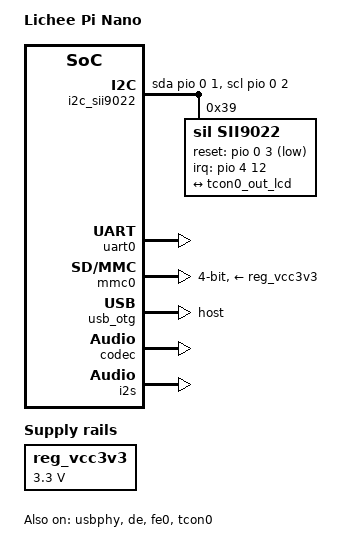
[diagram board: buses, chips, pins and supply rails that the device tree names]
// SPDX-License-Identifier: (GPL-2.0+ OR X11)
/*
 * Copyright 2018 Icenowy Zheng <icenowy@aosc.io>
 */

/dts-v1/;
#include "suniv-f1c100s.dtsi"
#include <dt-bindings/gpio/gpio.h>
#include <dt-bindings/interrupt-controller/irq.h>
#include <dt-bindings/display/st7701initseq.h>

/ {
	model = "Lichee Pi Nano";
	compatible = "licheepi,licheepi-nano", "allwinner,suniv-f1c100s";

	aliases {
		serial0 = &uart0;
	};

	chosen {
		stdout-path = "serial0:115200n8";
	};

	reg_vcc3v3: vcc3v3 {
		compatible = "regulator-fixed";
		regulator-name = "vcc3v3";
		regulator-min-microvolt = <3300000>;
		regulator-max-microvolt = <3300000>;
	};

	i2c_sii9022: i2c-sii9022 {
		compatible = "i2c-gpio";
		sda-gpios = <&pio 0 1 (GPIO_ACTIVE_HIGH | GPIO_OPEN_DRAIN)>;
		scl-gpios = <&pio 0 2 (GPIO_ACTIVE_HIGH | GPIO_OPEN_DRAIN)>;
		i2c-gpio,sda-open-drain;
		i2c-gpio,scl-open-drain;
		#address-cells = <1>;
		#size-cells = <0>;

		sii9022: hdmi@39 {
			compatible = "sil,sii9022";
			reg = <0x39>;
			reset-gpios = <&pio 0 3 GPIO_ACTIVE_LOW>;
			interrupt-parent = <&pio>;
			interrupts = <4 12 IRQ_TYPE_EDGE_RISING>;

			port {
				sii9022_input: endpoint {
					remote-endpoint = <&tcon0_out_lcd>;
					bus-width = <18>;
				};
			};
		};
	};

	panel: panel {
		status = "disabled";
		compatible = "lattland,mostima", "simple-panel";
		#address-cells = <1>;
		#size-cells = <0>;

		port@0 {
			reg = <0>;
			#address-cells = <1>;
			#size-cells = <0>;

				reg = <0>;
				remote-endpoint = <&tcon0_out_lcd>;
			};
		};
	};

	st7701initseq: st7701initseq {
		compatible = "lattland,st7701-initseq";
		status = "disabled";
		scl-gpios = <&pio 0 1 GPIO_ACTIVE_HIGH>; /* PA1 swapped for panel test */
		sda-gpios = <&pio 0 2 GPIO_ACTIVE_HIGH>; /* PA2 swapped for panel test */
		cs-gpios = <&pio 0 0 GPIO_ACTIVE_HIGH>;  /* PA0 */
		rst-gpios = <&pio 0 3 GPIO_ACTIVE_HIGH>; /* PA3 */
		init-sequence = <
			ST7701INIT_BEGIN_WRITE

			ST7701INIT_WRITE_COMMAND_8 0xFF
			ST7701INIT_WRITE_BYTES 5 0x77 0x01 0x00 0x00 0x13
			ST7701INIT_WRITE_C8_D8 0xEF 0x08

			ST7701INIT_WRITE_COMMAND_8 0xFF
			ST7701INIT_WRITE_BYTES 5 0x77 0x01 0x00 0x00 0x10
			ST7701INIT_WRITE_C8_D16 0xC0 0x4F 0x00
			ST7701INIT_WRITE_C8_D16 0xC1 0x07 0x02
			ST7701INIT_WRITE_C8_D16 0xC2 0x31 0x05
			ST7701INIT_WRITE_C8_D8 0xC7 0x04
			ST7701INIT_WRITE_COMMAND_8 0xC3
			ST7701INIT_WRITE_BYTES 3 0x82 0x18 0x0e
			ST7701INIT_WRITE_C8_D8 0xCC 0x10

			ST7701INIT_WRITE_COMMAND_8 0xB0
			ST7701INIT_WRITE_BYTES 16
			0x0A 0x14 0x1B 0x0D
			0x10 0x05 0x07 0x08
			0x06 0x22 0x03 0x11
			0x10 0xAD 0x31 0x1B

			ST7701INIT_WRITE_COMMAND_8 0xB1
			ST7701INIT_WRITE_BYTES 16
			0x0A 0x14 0x1B 0x0D
			0x10 0x05 0x07 0x08
			0x06 0x22 0x03 0x11
			0x10 0xAD 0x31 0x1B

			ST7701INIT_WRITE_COMMAND_8 0xFF
			ST7701INIT_WRITE_BYTES 5 0x77 0x01 0x00 0x00 0x11
			ST7701INIT_WRITE_C8_D8 0xB0 0x53
			ST7701INIT_WRITE_C8_D8 0xB1 0x60
			ST7701INIT_WRITE_C8_D8 0xB2 0x07
			ST7701INIT_WRITE_C8_D8 0xB3 0x80
			ST7701INIT_WRITE_C8_D8 0xB5 0x49
			ST7701INIT_WRITE_C8_D8 0xB7 0x85
			ST7701INIT_WRITE_C8_D8 0xB8 0x21
			ST7701INIT_WRITE_C8_D8 0xC1 0x78
			ST7701INIT_WRITE_C8_D8 0xC2 0x78

			ST7701INIT_WRITE_COMMAND_8 0xE0
			ST7701INIT_WRITE_BYTES 3 0x00 0x00 0x02
			ST7701INIT_WRITE_COMMAND_8 0xE1
			ST7701INIT_WRITE_BYTES 11
			0x03 0xA0 0x00 0x00
			0x02 0xA0 0x00 0x00
			0x00 0x33 0x33
			ST7701INIT_WRITE_COMMAND_8 0xE2
			ST7701INIT_WRITE_BYTES 12
			0x22 0x22 0x33 0x33
			0x88 0xA0 0x00 0x00
			0x87 0xA0 0x00 0x00
			ST7701INIT_WRITE_COMMAND_8 0xE3
			ST7701INIT_WRITE_BYTES 4 0x00 0x00 0x22 0x22
			ST7701INIT_WRITE_C8_D16 0xE4 0x44 0x44
			ST7701INIT_WRITE_COMMAND_8 0xE5
			ST7701INIT_WRITE_BYTES 16
			0x04 0x84 0xA0 0xA0
			0x06 0x86 0xA0 0xA0
			0x08 0x88 0xA0 0xA0
			0x0A 0x8A 0xA0 0xA0
			ST7701INIT_WRITE_COMMAND_8 0xE6
			ST7701INIT_WRITE_BYTES 4 0x00 0x00 0x22 0x22
			ST7701INIT_WRITE_C8_D16 0xE7 0x44 0x44
			ST7701INIT_WRITE_COMMAND_8 0xE8
			ST7701INIT_WRITE_BYTES 16
			0x03 0x83 0xA0 0xA0
			0x05 0x85 0xA0 0xA0
			0x07 0x87 0xA0 0xA0
			0x09 0x89 0xA0 0xA0

			ST7701INIT_WRITE_COMMAND_8 0xEB
			ST7701INIT_WRITE_BYTES 7
			0x00 0x01 0xE4 0xE4
			0x88 0x00 0x40
			ST7701INIT_WRITE_C8_D16 0xEC 0x3C 0x01
			ST7701INIT_WRITE_COMMAND_8 0xED
			ST7701INIT_WRITE_BYTES 16
			0xAB 0x89 0x76 0x54
			0x02 0xFF 0xFF 0xFF
			0xFF 0xFF 0xFF 0x20
			0x45 0x67 0x98 0xBA

			ST7701INIT_WRITE_C8_D8 0x36 0x10
			ST7701INIT_WRITE_COMMAND_8 0xFF
			ST7701INIT_WRITE_BYTES 5 0x77 0x01 0x00 0x00 0x13
			ST7701INIT_WRITE_C8_D16 0xE8 0x00 0x0E
			ST7701INIT_WRITE_COMMAND_8 0x20
			ST7701INIT_WRITE_C8_D8 0x3A 0x50
			ST7701INIT_WRITE_COMMAND_8 0x11
			ST7701INIT_END_WRITE
			ST7701INIT_DELAY 150

			ST7701INIT_BEGIN_WRITE
			ST7701INIT_WRITE_C8_D16 0xE8 0x00 0x0C
			ST7701INIT_END_WRITE
			ST7701INIT_DELAY 100

			ST7701INIT_BEGIN_WRITE
			ST7701INIT_WRITE_C8_D16 0xE8 0x00 0x00
			ST7701INIT_WRITE_COMMAND_8 0xFF
			ST7701INIT_WRITE_BYTES 5 0x77 0x01 0x00 0x00 0x00
			ST7701INIT_WRITE_COMMAND_8 0x29
			ST7701INIT_END_WRITE
			ST7701INIT_DELAY 20
		>;
	};

	pcm5102a: pcm5102a {
		#sound-dai-cells = <0>;
		compatible = "ti,pcm5102a";
		status = "okay";
	};

	sound_i2s: sound_i2s {
		compatible = "simple-audio-card";
		simple-audio-card,name = "I2S-master";
		simple-audio-card,format = "i2s";
		simple-audio-card,bitclock-master = <&dailink0_master>;
		simple-audio-card,frame-master = <&dailink0_master>;
		status = "okay";

		dailink0_master: simple-audio-card,cpu {
			sound-dai = <&i2s>;
		};

		simple-audio-card,codec {
			sound-dai = <&pcm5102a>;
		};
	};
};

&uart0 {
	pinctrl-names = "default";
	pinctrl-0 = <&uart0_pe_pins>;
	status = "okay";
};

&mmc0 {
	vmmc-supply = <&reg_vcc3v3>;
	bus-width = <4>;
	broken-cd;
	status = "okay";
};

&spi1 {
	compatible = "allwinner,sun8i-h3-spi";
	pinctrl-names = "default";
	pinctrl-0 = <&spi1_pa_pins>;
	status = "disabled";

	esp8089@0 {
		compatible = "esp,esp8089";
		reg = <0>;
		status = "disabled";
		spi-max-frequency = <10000000>;
		spi-cpol;
		spi-cpha;
	};

	st7789v: display@0 {
		compatible = "sitronix,st7789v";
		reg = <0>;
		status = "disabled";

		spi-max-frequency = <48000000>;
		spi-cpol;
		spi-cpha;

		buswidth = <8>;
		width = <240>;
		height = <320>;
		rgb;
		rotate = <90>;
		fps = <30>;

		dc-gpios = <&pio 0 3 GPIO_ACTIVE_HIGH>; /* PA3 */
		reset-gpios = <&pio 0 0 GPIO_ACTIVE_LOW>; /* PA0 */
	};
};

&otg_sram {
	status = "okay";
};

&usb_otg {
	dr_mode = "host";
	status = "okay";
};

&usbphy {
	status = "okay";
};

#include "matrix_keypad.dtsi"

/* PD0 and PD12 are RGB data pins in the SII9022 display configuration. */
&matrix_keypad {
	status = "disabled";
};

&codec {
    allwinner,audio-routing =
    "Headphone", "HP",
    "Headphone", "HPCOM",
    "MIC", "Mic";
    status = "okay";
};

&i2s {
	pinctrl-names = "default";
	pinctrl-0 = <&i2s_pe_pins>;
	status = "okay";
};

&de {
	status = "okay";
};

&fe0 {
	status = "okay";
};

&pio {
	sii9022_rgb666_de_pins: sii9022-rgb666-de-pins {
		pins = "PD0", "PD1", "PD2", "PD3", "PD4", "PD5",
		       "PD6", "PD7", "PD8", "PD9", "PD10", "PD11",
		       "PD12", "PD13", "PD14", "PD15", "PD16", "PD17",
		       "PD18", "PD19", "PD20", "PD21";
		function = "lcd";
	};

};

&tcon0 {
	pinctrl-names = "default";
	pinctrl-0 = <&sii9022_rgb666_de_pins>;
	srgn,swap-b-r;
	status = "okay";
};

&tcon0_out {
	tcon0_out_lcd: endpoint@0 {
		reg = <0>;
		remote-endpoint = <&sii9022_input>;
		bus-width = <18>;
	};
};
